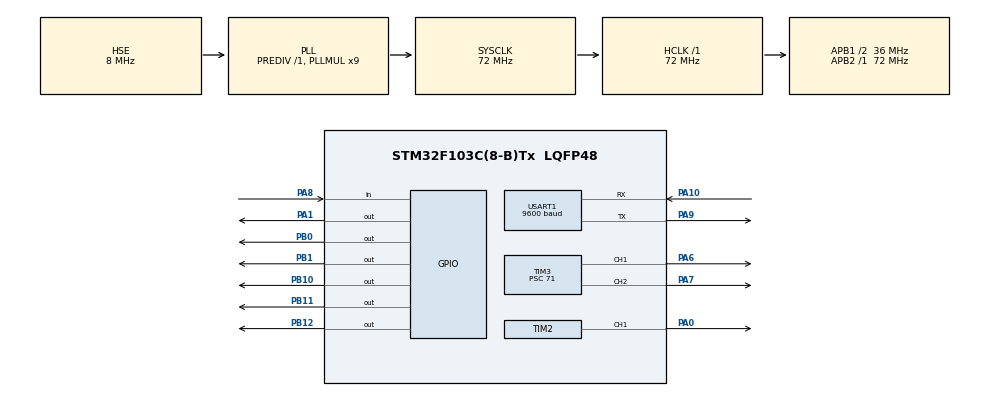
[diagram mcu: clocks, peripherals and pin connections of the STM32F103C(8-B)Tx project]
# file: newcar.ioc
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FREERTOS.Tasks01=defaultTask,24,128,StartDefaultTask,Default,NULL,Dynamic,NULL,NULL
Mcu.Family=STM32F1
Mcu.Name=STM32F103C(8-B)Tx
Mcu.Package=LQFP48
NVIC.PriorityGroup=NVIC_PRIORITYGROUP_4
NVIC.TIM4_IRQn=true\:15\:0\:false\:false\:true\:false\:false\:true\:true
NVIC.TimeBase=TIM4_IRQn
NVIC.TimeBaseIP=TIM4
PA0-WKUP.Signal=S_TIM2_CH1_ETR
PA1.Signal=GPIO_Output
PA10.Mode=Asynchronous
PA10.Signal=USART1_RX
PA13.Mode=Serial_Wire
PA13.Signal=SYS_JTMS-SWDIO
PA14.Mode=Serial_Wire
PA14.Signal=SYS_JTCK-SWCLK
PA6.Signal=S_TIM3_CH1
PA7.Signal=S_TIM3_CH2
PA8.Signal=GPIO_Input
PA9.Mode=Asynchronous
PA9.Signal=USART1_TX
PB0.Signal=GPIO_Output
PB1.Signal=GPIO_Output
PB10.Signal=GPIO_Output
PB11.Signal=GPIO_Output
PB12.Signal=GPIO_Output
PD0-OSC_IN.Mode=HSE-External-Oscillator
PD0-OSC_IN.Signal=RCC_OSC_IN
PD1-OSC_OUT.Mode=HSE-External-Oscillator
PD1-OSC_OUT.Signal=RCC_OSC_OUT
ProjectManager.HeapSize=0x200
ProjectManager.StackSize=0x400
ProjectManager.TargetToolchain=MDK-ARM V5.27
RCC.AHBFreq_Value=72000000
RCC.APB1CLKDivider=RCC_HCLK_DIV2
RCC.APB1Freq_Value=36000000
RCC.APB1TimFreq_Value=72000000
RCC.APB2Freq_Value=72000000
RCC.APB2TimFreq_Value=72000000
RCC.HCLKFreq_Value=72000000
RCC.PLLMUL=RCC_PLL_MUL9
RCC.PLLSourceVirtual=RCC_PLLSOURCE_HSE
RCC.SYSCLKFreq_VALUE=72000000
RCC.SYSCLKSource=RCC_SYSCLKSOURCE_PLLCLK
RCC.USBFreq_Value=72000000
SH.S_TIM2_CH1_ETR.0=TIM2_CH1,PWM Generation1 CH1
SH.S_TIM3_CH1.0=TIM3_CH1,PWM Generation1 CH1
SH.S_TIM3_CH2.0=TIM3_CH2,PWM Generation2 CH2
TIM2.Channel-PWM\ Generation1\ CH1=TIM_CHANNEL_1
TIM2.Period=19999
TIM2.Prescaler=71
TIM3.AutoReloadPreload=TIM_AUTORELOAD_PRELOAD_ENABLE
TIM3.Channel-PWM\ Generation1\ CH1=TIM_CHANNEL_1
TIM3.Channel-PWM\ Generation2\ CH2=TIM_CHANNEL_2
TIM3.Period=999
TIM3.Prescaler=71
USART1.BaudRate=9600
USART1.VirtualMode=VM_ASYNC
VP_FREERTOS_VS_CMSIS_V2.Mode=CMSIS_V2
VP_SYS_VS_tim4.Mode=TIM4
board=custom

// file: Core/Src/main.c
/**
  ******************************************************************************
  * @file    main.c
  * @brief   蓝牙智能小车主程序（FreeRTOS 版）
  *          STM32F103C8T6 + TB6612 + HC-06 + HC-SR04 + SG90 + TCRT5000
  ******************************************************************************
  */

#include "main.h"
#include "app_motor.h"
/* USER CODE BEGIN Includes */
#include <string.h>
#include "tim.h"        /* htim2/htim3 句柄 + MX_TIMx_Init 声明（CubeMX 生成）*/
#include "usart.h"      /* huart1 句柄 + MX_USART1_UART_Init 声明（CubeMX 生成）*/
#include "ultrasonic.h"
#include "servo.h"
#include "tracking.h"
#include "app_bt.h"
#include "app_car.h"
/* USER CODE END Includes */

void SystemClock_Config(void);
static void MX_GPIO_Init(void);
void MX_FREERTOS_Init(void);        /* (MISRA C 2004 rule 8.1) 实现在 freertos.c */

int main(void)
{
  /* MCU 配置 ------------------------------------------------------------*/
  HAL_Init();
  /* 注意：HAL 时基不需要手动初始化！CubeMX 把 Timebase Source 切到 TIM4 后，
   * HAL_Init() 内部会自动调用 stm32f1xx_hal_timebase_tim.c 里的 HAL_InitTick()，
   * 由它配置并启动 TIM4 的 1ms 中断——这就是 SysTick 被RTOS 征用后的替代时基。 */

  /* 配置系统时钟：HSE 8MHz * PLL x9 = 72MHz（失败自动回退 HSI）*/
  SystemClock_Config();

  /* 外设初始化（实现在 CubeMX 生成的 tim.c/usart.c，参数与裸机版一致）*/
  MX_GPIO_Init();                   /* GPIO：电机方向脚 + STBY + 超声波 */
  MX_TIM3_Init();                   /* TIM3：PWM 输出（电机调速）*/
  MX_TIM2_Init();                   /* TIM2：PWM 输出（SG90 舵机）*/
  MX_USART1_UART_Init();            /* USART1：HC-06 蓝牙串口 */

  /* USER CODE BEGIN 2 */
  Motor_Init();                     /* 电机初始化：STBY 使能 + 停止 */
  Tracking_Init();                  /* 循迹传感器引脚配置 */
  Servo_Init();                     /* 舵机初始化：启动 PWM 并回中 90° */
  Ultrasonic_Init();                /* 超声波初始化：使能 DWT 计数器 */

  HAL_TIM_PWM_Start(&htim3, TIM_CHANNEL_1);         /* 启动电机A PWM */
  HAL_TIM_PWM_Start(&htim3, TIM_CHANNEL_2);         /* 启动电机B PWM */

  /* 注意：这里【不再】调用 HAL_UART_Receive_IT ——
   * 中断回调里要用 RTOS 队列 API，必须等内核启动后在 BtTask 里开启，
   * 否则若字节恰好在内核启动前到达会触发 FreeRTOS 断言（见 app_bt.c 注释）*/
  /* USER CODE END 2 */

  /* 【FreeRTOS 关键配置】初始化调度器并启动：
   * 主循环 while(1) 从此不复存在 —— CPU 的使用权归内核调度 */
  osKernelInitialize();             /* 内核初始化（创建 RTOS 对象前必须调用）*/
  MX_FREERTOS_Init();               /* 创建队列/互斥锁/任务（freertos.c）*/
  osKernelStart();                  /* 启动调度器，从此不再返回 */

  while (1)
  {
    /* 永远不会到这里；万一调度器异常退出则停机 */
  }
}

/**
  * @brief  系统时钟配置（与裸机版完全一致）
  * @note   HSE 8MHz x9 = 72MHz；失败回退 HSI 4MHz x16 = 64MHz
  */
void SystemClock_Config(void)
{
  RCC_OscInitTypeDef RCC_OscInitStruct = {0};
  RCC_ClkInitTypeDef RCC_ClkInitStruct = {0};

  RCC_OscInitStruct.OscillatorType = RCC_OSCILLATORTYPE_HSE;
  RCC_OscInitStruct.HSEState = RCC_HSE_ON;
  RCC_OscInitStruct.HSEPredivValue = RCC_HSE_PREDIV_DIV1;
  RCC_OscInitStruct.HSIState = RCC_HSI_ON;
  RCC_OscInitStruct.PLL.PLLState = RCC_PLL_ON;
  RCC_OscInitStruct.PLL.PLLSource = RCC_PLLSOURCE_HSE;
  RCC_OscInitStruct.PLL.PLLMUL = RCC_PLL_MUL9;

  if (HAL_RCC_OscConfig(&RCC_OscInitStruct) == HAL_OK)
  {
    RCC_ClkInitStruct.ClockType = RCC_CLOCKTYPE_HCLK | RCC_CLOCKTYPE_SYSCLK
                                | RCC_CLOCKTYPE_PCLK1 | RCC_CLOCKTYPE_PCLK2;
    RCC_ClkInitStruct.SYSCLKSource = RCC_SYSCLKSOURCE_PLLCLK;
    RCC_ClkInitStruct.AHBCLKDivider = RCC_SYSCLK_DIV1;
    RCC_ClkInitStruct.APB1CLKDivider = RCC_HCLK_DIV2;
    RCC_ClkInitStruct.APB2CLKDivider = RCC_HCLK_DIV1;
    if (HAL_RCC_ClockConfig(&RCC_ClkInitStruct, FLASH_LATENCY_2) != HAL_OK)
    {
      Error_Handler();
    }
    return;
  }

  /* 回退：HSE 失败（无晶振），用内部 HSI 4MHz x 16 = 64MHz */
  RCC_OscInitStruct.OscillatorType = RCC_OSCILLATORTYPE_HSI;
  RCC_OscInitStruct.HSIState = RCC_HSI_ON;
  RCC_OscInitStruct.HSEState = RCC_HSE_OFF;
  RCC_OscInitStruct.PLL.PLLState = RCC_PLL_ON;
  RCC_OscInitStruct.PLL.PLLSource = RCC_PLLSOURCE_HSI_DIV2;
  RCC_OscInitStruct.PLL.PLLMUL = RCC_PLL_MUL16;
  if (HAL_RCC_OscConfig(&RCC_OscInitStruct) != HAL_OK)
  {
    Error_Handler();
  }

  RCC_ClkInitStruct.ClockType = RCC_CLOCKTYPE_HCLK | RCC_CLOCKTYPE_SYSCLK
                              | RCC_CLOCKTYPE_PCLK1 | RCC_CLOCKTYPE_PCLK2;
  RCC_ClkInitStruct.SYSCLKSource = RCC_SYSCLKSOURCE_PLLCLK;
  RCC_ClkInitStruct.AHBCLKDivider = RCC_SYSCLK_DIV1;
  RCC_ClkInitStruct.APB1CLKDivider = RCC_HCLK_DIV2;
  RCC_ClkInitStruct.APB2CLKDivider = RCC_HCLK_DIV1;
  if (HAL_RCC_ClockConfig(&RCC_ClkInitStruct, FLASH_LATENCY_2) != HAL_OK)
  {
    Error_Handler();
  }
}

/**
  * @brief  GPIO 初始化：电机方向引脚 + STBY + 超声波（与裸机版一致）
  * @note   TIM 复用引脚（PA0/PA6/PA7）不用这里配——
  *         HAL_TIM_MspPostInit()（stm32f1xx_hal_msp.c）在 MX_TIMx_Init 内部已完成。
  */
static void MX_GPIO_Init(void)
{
  GPIO_InitTypeDef GPIO_InitStruct = {0};

  __HAL_RCC_GPIOA_CLK_ENABLE();
  __HAL_RCC_GPIOB_CLK_ENABLE();

  /* 超声波 TRIG：PA1 推挽输出（初始低电平）*/
  HAL_GPIO_WritePin(GPIOA, GPIO_PIN_1, GPIO_PIN_RESET);
  GPIO_InitStruct.Pin = GPIO_PIN_1;
  GPIO_InitStruct.Mode = GPIO_MODE_OUTPUT_PP;
  GPIO_InitStruct.Speed = GPIO_SPEED_FREQ_LOW;
  HAL_GPIO_Init(GPIOA, &GPIO_InitStruct);

  /* 超声波 ECHO：PA8 浮空输入（5V 容忍脚，可直连 HC-SR04 Echo）*/
  GPIO_InitStruct.Pin = GPIO_PIN_8;
  GPIO_InitStruct.Mode = GPIO_MODE_INPUT;
  GPIO_InitStruct.Pull = GPIO_NOPULL;
  HAL_GPIO_Init(GPIOA, &GPIO_InitStruct);

  /* 电机方向脚与 STBY 初始输出高电平 */
  HAL_GPIO_WritePin(GPIOB, AIN1_PIN | AIN2_PIN | BIN1_PIN | BIN2_PIN | STBY_PIN, GPIO_PIN_SET);
  GPIO_InitStruct.Pin = AIN1_PIN | AIN2_PIN | BIN1_PIN | BIN2_PIN | STBY_PIN;
  GPIO_InitStruct.Mode = GPIO_MODE_OUTPUT_PP;
  GPIO_InitStruct.Speed = GPIO_SPEED_FREQ_LOW;
  HAL_GPIO_Init(GPIOB, &GPIO_InitStruct);
}

/**
  * @brief  错误处理函数
  * @note   保持可中断的死循环（不用 __disable_irq），方便接调试器查看任务状态。
  */
void Error_Handler(void)
{
  while (1)
  {
    /* 可在此加：串口打印错误码 / 关闭电机 PWM 保证安全 */
  }
}

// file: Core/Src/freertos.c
/* USER CODE BEGIN Header */
/**
  ******************************************************************************
  * File Name          : freertos.c
  * Description        : Code for freertos applications
  ******************************************************************************
  * @attention
  *
  * Copyright (c) 2026 STMicroelectronics.
  * All rights reserved.
  *
  * This software is licensed under terms that can be found in the LICENSE file
  * in the root directory of this software component.
  * If no LICENSE file comes with this software, it is provided AS-IS.
  *
  ******************************************************************************
  *
  *
  * 系统架构（任务间只通过队列和互斥锁通信，不共享裸变量）：
  *   [UART中断] --字节--> qBt --> [btTask] --动作--> qCarAction --+
  *                                                    +--> [motorTask] 唯一操作电机
  *   [trackTask] --30ms高频动作--> qCarAction --------+
  *   [avoidTask] --带时长转向动作-> qCarAction -------+
  *   模式/速度等共享配置由 mCfg 互斥锁保护（实现在 app_car.c）
  ******************************************************************************
  */
/* USER CODE END Header */

#include "FreeRTOS.h"
#include "task.h"
#include "main.h"
#include "cmsis_os.h"

/* USER CODE BEGIN Includes */
#include "app_car.h"
#include "app_motor.h"
#include "app_bt.h"
#include "app_avoid.h"
#include "app_tracking.h"
/* USER CODE END Includes */

/* USER CODE BEGIN Variables */
/* ====== 全局 RTOS 对象句柄（app_car.h 里 extern 给各任务用）====== */
osMessageQueueId_t qCarAction;  /* 动作队列：bt/avoid/track -> motor，8 条 CarActionMsg */
osMessageQueueId_t qBt;         /* 蓝牙字节队列：UART 中断 -> btTask，16 字节 */
osMutexId_t        mCfg;        /* 配置互斥锁：保护当前模式/速度（app_car.c 内部）*/
/* USER CODE END Variables */
/* Definitions for defaultTask */
osThreadId_t defaultTaskHandle;
const osThreadAttr_t defaultTask_attributes = {
  .name = "defaultTask",
  .stack_size = 128 * 4,
  .priority = (osPriority_t) osPriorityNormal,
};

void StartDefaultTask(void *argument);

void MX_FREERTOS_Init(void); /* (MISRA C 2004 rule 8.1) */

void MX_FREERTOS_Init(void) {

  /* USER CODE BEGIN RTOS_MUTEX */
  /* ====== 创建互斥锁：保护 app_car.c 里的 s_mode / s_speed ======
   * 用互斥锁而不是二值信号量做锁，因为互斥锁带优先级继承，
   * 能缓解"低优先级持锁、高优先级等待、中优先级插队"的优先级反转 */
  mCfg = osMutexNew(NULL);
  /* USER CODE END RTOS_MUTEX */

  /* USER CODE BEGIN RTOS_QUEUES */
  /* ====== 创建两个消息队列 ======
   * 参数：(队列长度, 每条消息字节数, 属性)
   * 消息队列 put/get 都是值的拷贝——天然避免"发指针指向已销毁局部变量"的经典错误。
   * qCarAction 8 条：循迹 30ms 一条是最大生产者，motorTask 消费远快于生产；
   * qBt 16 字节：蓝牙是流式数据，16 字节缓冲足够覆盖任务调度的短暂延迟。 */
  qCarAction = osMessageQueueNew(8, sizeof(CarActionMsg), NULL);
  qBt        = osMessageQueueNew(16, sizeof(uint8_t), NULL);
  /* USER CODE END RTOS_QUEUES */

  /* Create the thread(s) */
  /* creation of defaultTask */
  defaultTaskHandle = osThreadNew(StartDefaultTask, NULL, &defaultTask_attributes);

  /* USER CODE BEGIN RTOS_THREADS */
  /* ====== 创建 4 个业务任务 ======
   * osThreadNew(任务函数, 参数, 属性)；属性传 NULL = 默认 Normal 优先级 + configMINIMAL_STACK_SIZE。
   * 注意 CMSIS-RTOS2 的 stack_size 单位是【字节】。
   * 栈给小了会溢出踩内存（症状是随机 hardfault），先给够再靠
   * uxTaskGetStackHighWaterMark() 观察余量往回收。
   * 优先级设计：蓝牙/循迹/电机 Normal（人机响应+控制实时性），
   *             避障 BelowNormal（一次决策几百 ms，让出优先级）。 */
  osThreadNew(MotorTask, NULL, NULL);   /* 电机任务：唯一操作电机的人 */

  {
    osThreadAttr_t attr = {0};
    attr.name       = "btTask";
    attr.priority   = (osPriority_t) osPriorityNormal;
    attr.stack_size = 512;
    osThreadNew(BtTask, NULL, &attr);    /* 蓝牙任务：解析指令 */

    attr.name       = "trackTask";
    osThreadNew(TrackTask, NULL, &attr); /* 循迹任务：30ms 周期 */

    attr.name       = "avoidTask";
    attr.priority   = (osPriority_t) osPriorityBelowNormal;
    attr.stack_size = 1024;              /* 避障局部变量多，栈给大点 */
    osThreadNew(AvoidTask, NULL, &attr); /* 避障任务：决策+发动作 */
  }
  /* USER CODE END RTOS_THREADS */

}

void StartDefaultTask(void *argument)
{
  for(;;)
  {
    osDelay(1);
  }
}

/* USER CODE BEGIN Application */
/* ====== 栈溢出钩子（强烈建议保留）======
 * 前提：FreeRTOSConfig.h 里 configCHECK_FOR_STACK_OVERFLOW 已置 2
 * （CubeMX 界面：FREERTOS -> Config Parameters -> 搜 STACK_OVERFLOW）。
 * 内核会在任务切换时用"哨兵字"检测栈底是否被踩穿，
 * 调 RTOS 项目时任务栈溢出是最常见的死法，钩子能第一时间抓到凶手。 */
void vApplicationStackOverflowHook(TaskHandle_t xTask, char *pcTaskName)
{
  /* 到这里说明 pcTaskName 对应的任务栈溢出了 */
  (void)xTask;
  (void)pcTaskName;
  __disable_irq();
  while (1) { }
}
/* USER CODE END Application */
